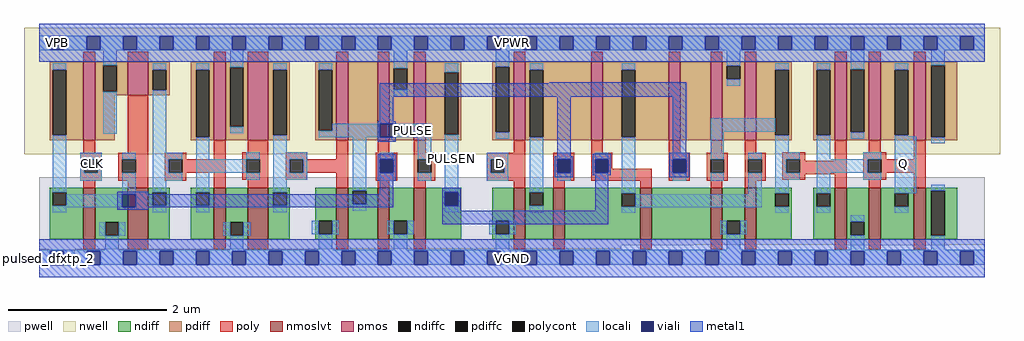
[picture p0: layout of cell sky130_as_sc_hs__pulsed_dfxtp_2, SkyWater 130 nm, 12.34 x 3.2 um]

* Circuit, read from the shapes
.subckt sky130_as_sc_hs__pulsed_dfxtp_2 VNB VPB VPWR VGND CLK D Q PULSE PULSEN
XM1 VGND CLK n1 VNB sky130_fd_pr__nfet_01v8_lvt w=0.65 l=0.15
XM2 n2 n1 VGND VNB sky130_fd_pr__nfet_01v8_lvt w=0.65 l=0.26
XM3 VGND n2 n3 VNB sky130_fd_pr__nfet_01v8_lvt w=0.65 l=0.15
XM4 n4 n3 VGND VNB sky130_fd_pr__nfet_01v8_lvt w=0.65 l=0.26
XM5 PULSE n4 VGND VNB sky130_fd_pr__nfet_01v8_lvt w=0.65 l=0.15
XM6 VGND n1 PULSE VNB sky130_fd_pr__nfet_01v8_lvt w=0.65 l=0.15
XM7 PULSEN PULSE VGND VNB sky130_fd_pr__nfet_01v8_lvt w=0.65 l=0.15
XM8 n5 D VGND VNB sky130_fd_pr__nfet_01v8_lvt w=0.65 l=0.15
XM9 n6 PULSE n5 VNB sky130_fd_pr__nfet_01v8_lvt w=0.65 l=0.15
XM10 n7 PULSEN n6 VNB sky130_fd_pr__nfet_01v8_lvt w=0.65 l=0.15
XM11 VGND n8 n7 VNB sky130_fd_pr__nfet_01v8_lvt w=0.65 l=0.15
XM12 n8 n6 VGND VNB sky130_fd_pr__nfet_01v8_lvt w=0.65 l=0.15
XM13 VGND n8 n9 VNB sky130_fd_pr__nfet_01v8_lvt w=0.65 l=0.15
XM14 Q n9 VGND VNB sky130_fd_pr__nfet_01v8_lvt w=0.65 l=0.15 m=2
XM15 VPWR CLK n1 VPB sky130_fd_pr__pfet_01v8 w=0.99 l=0.15
XM16 n2 n1 VPWR VPB sky130_fd_pr__pfet_01v8 w=0.42 l=0.26
XM17 VPWR n2 n3 VPB sky130_fd_pr__pfet_01v8 w=0.99 l=0.15
XM18 n4 n3 VPWR VPB sky130_fd_pr__pfet_01v8 w=0.99 l=0.26
XM19 n10 n4 PULSE VPB sky130_fd_pr__pfet_01v8 w=0.99 l=0.15
XM20 VPWR n1 n10 VPB sky130_fd_pr__pfet_01v8 w=0.99 l=0.15
XM21 PULSEN PULSE VPWR VPB sky130_fd_pr__pfet_01v8 w=0.99 l=0.15
XM22 n5 D VPWR VPB sky130_fd_pr__pfet_01v8 w=0.99 l=0.15
XM23 n6 PULSEN n5 VPB sky130_fd_pr__pfet_01v8 w=0.99 l=0.15
XM24 n11 PULSE n6 VPB sky130_fd_pr__pfet_01v8 w=0.99 l=0.15
XM25 VPWR n8 n11 VPB sky130_fd_pr__pfet_01v8 w=0.99 l=0.15
XM26 n8 n6 VPWR VPB sky130_fd_pr__pfet_01v8 w=0.99 l=0.15
XM27 VPWR n8 n9 VPB sky130_fd_pr__pfet_01v8 w=0.99 l=0.15
XM28 Q n9 VPWR VPB sky130_fd_pr__pfet_01v8 w=0.99 l=0.15 m=2
.ends

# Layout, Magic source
magic
tech sky130A
magscale 1 2
<< nwell >>
rect -38 262 2430 582
<< pwell >>
rect 0 34 2392 204
rect 0 32 1656 34
rect 2022 32 2300 34
rect 0 24 1472 32
rect 0 22 736 24
rect 1099 22 1104 24
rect 26 -20 90 22
<< pmos >>
rect 112 298 142 496
rect 224 412 276 496
rect 442 298 472 496
rect 528 298 580 496
rect 752 298 782 496
rect 856 298 886 496
rect 948 298 978 496
rect 1200 298 1230 496
rect 1396 298 1426 496
rect 1592 298 1622 496
rect 1698 298 1728 496
rect 1784 298 1814 496
rect 2012 298 2042 496
rect 2098 298 2128 496
rect 2212 298 2242 496
<< nmoslvt >>
rect 112 48 142 178
rect 224 48 276 178
rect 442 48 472 178
rect 528 48 580 178
rect 752 48 782 178
rect 856 48 886 178
rect 948 48 978 178
rect 1200 48 1230 178
rect 1300 48 1330 178
rect 1520 48 1550 178
rect 1698 48 1728 178
rect 1784 48 1814 178
rect 2012 48 2042 178
rect 2098 48 2128 178
rect 2212 48 2242 178
<< ndiff >>
rect 27 166 112 178
rect 27 132 35 166
rect 69 132 112 166
rect 27 48 112 132
rect 142 90 224 178
rect 142 56 168 90
rect 202 56 224 90
rect 142 48 224 56
rect 276 166 330 178
rect 276 132 288 166
rect 322 132 330 166
rect 276 48 330 132
rect 384 166 442 178
rect 384 132 397 166
rect 431 132 442 166
rect 384 48 442 132
rect 472 90 528 178
rect 472 56 483 90
rect 517 56 528 90
rect 472 48 528 56
rect 580 166 634 178
rect 580 132 592 166
rect 626 132 634 166
rect 580 48 634 132
rect 698 94 752 178
rect 698 60 707 94
rect 741 60 752 94
rect 698 48 752 60
rect 782 170 856 178
rect 782 136 793 170
rect 827 136 856 170
rect 782 48 856 136
rect 886 94 948 178
rect 886 60 897 94
rect 931 60 948 94
rect 886 48 948 60
rect 978 166 1068 178
rect 978 132 1026 166
rect 1060 132 1068 166
rect 978 48 1068 132
rect 1146 94 1200 178
rect 1146 60 1155 94
rect 1189 60 1200 94
rect 1146 48 1200 60
rect 1230 166 1300 178
rect 1230 132 1241 166
rect 1275 132 1300 166
rect 1230 48 1300 132
rect 1330 164 1520 178
rect 1330 130 1474 164
rect 1508 130 1520 164
rect 1330 48 1520 130
rect 1550 48 1698 178
rect 1728 94 1784 178
rect 1728 60 1739 94
rect 1773 60 1784 94
rect 1728 48 1784 60
rect 1814 164 1904 178
rect 1814 130 1862 164
rect 1896 130 1904 164
rect 1814 48 1904 130
rect 1958 164 2012 178
rect 1958 130 1967 164
rect 2001 130 2012 164
rect 1958 48 2012 130
rect 2042 92 2098 178
rect 2042 58 2053 92
rect 2087 58 2098 92
rect 2042 48 2098 58
rect 2128 164 2212 178
rect 2128 130 2164 164
rect 2198 130 2212 164
rect 2128 48 2212 130
rect 2242 170 2322 178
rect 2242 56 2256 170
rect 2290 56 2322 170
rect 2242 48 2322 56
<< pdiff >>
rect 27 476 112 496
rect 27 310 35 476
rect 69 310 112 476
rect 27 298 112 310
rect 142 488 224 496
rect 142 420 162 488
rect 196 420 224 488
rect 142 412 224 420
rect 276 476 330 496
rect 276 424 288 476
rect 322 424 330 476
rect 276 412 330 424
rect 384 476 442 496
rect 142 298 192 412
rect 384 306 397 476
rect 431 306 442 476
rect 384 298 442 306
rect 472 482 528 496
rect 472 332 483 482
rect 517 332 528 482
rect 472 298 528 332
rect 580 476 634 496
rect 580 310 592 476
rect 626 310 634 476
rect 580 298 634 310
rect 698 476 752 496
rect 698 322 707 476
rect 741 322 752 476
rect 698 298 752 322
rect 782 298 856 496
rect 886 480 948 496
rect 886 426 897 480
rect 931 426 948 480
rect 886 298 948 426
rect 978 470 1068 496
rect 978 312 1026 470
rect 1060 312 1068 470
rect 978 298 1068 312
rect 1146 484 1200 496
rect 1146 318 1155 484
rect 1189 318 1200 484
rect 1146 298 1200 318
rect 1230 476 1396 496
rect 1230 306 1241 476
rect 1275 306 1396 476
rect 1230 298 1396 306
rect 1426 476 1592 496
rect 1426 306 1474 476
rect 1508 306 1592 476
rect 1426 298 1592 306
rect 1622 298 1698 496
rect 1728 486 1784 496
rect 1728 452 1739 486
rect 1773 452 1784 486
rect 1728 298 1784 452
rect 1814 476 1904 496
rect 1814 310 1862 476
rect 1896 310 1904 476
rect 1814 298 1904 310
rect 1958 476 2012 496
rect 1958 310 1967 476
rect 2001 310 2012 476
rect 1958 298 2012 310
rect 2042 478 2098 496
rect 2042 318 2053 478
rect 2087 318 2098 478
rect 2042 298 2098 318
rect 2128 476 2212 496
rect 2128 310 2164 476
rect 2198 310 2212 476
rect 2128 298 2212 310
rect 2242 488 2322 496
rect 2242 306 2256 488
rect 2290 306 2322 488
rect 2242 298 2322 306
<< ndiffc >>
rect 35 132 69 166
rect 168 56 202 90
rect 288 132 322 166
rect 397 132 431 166
rect 483 56 517 90
rect 592 132 626 166
rect 707 60 741 94
rect 793 136 827 170
rect 897 60 931 94
rect 1026 132 1060 166
rect 1155 60 1189 94
rect 1241 132 1275 166
rect 1474 130 1508 164
rect 1739 60 1773 94
rect 1862 130 1896 164
rect 1967 130 2001 164
rect 2053 58 2087 92
rect 2164 130 2198 164
rect 2256 56 2290 170
<< pdiffc >>
rect 35 310 69 476
rect 162 420 196 488
rect 288 424 322 476
rect 397 306 431 476
rect 483 332 517 482
rect 592 310 626 476
rect 707 322 741 476
rect 897 426 931 480
rect 1026 312 1060 470
rect 1155 318 1189 484
rect 1241 306 1275 476
rect 1474 306 1508 476
rect 1739 452 1773 486
rect 1862 310 1896 476
rect 1967 310 2001 476
rect 2053 318 2087 478
rect 2164 310 2198 476
rect 2256 306 2290 488
<< poly >>
rect 112 496 142 522
rect 224 496 276 522
rect 442 496 472 522
rect 528 496 580 522
rect 752 496 782 522
rect 856 496 886 522
rect 948 496 978 522
rect 1200 496 1230 522
rect 1396 496 1426 522
rect 1592 496 1622 522
rect 1698 496 1728 522
rect 1784 496 1814 522
rect 2012 496 2042 522
rect 2098 496 2128 522
rect 2212 496 2242 522
rect 112 266 142 298
rect 224 266 276 412
rect 104 250 158 266
rect 104 216 114 250
rect 148 216 158 250
rect 104 196 158 216
rect 200 250 276 266
rect 200 216 210 250
rect 244 216 276 250
rect 200 196 276 216
rect 318 250 372 266
rect 442 250 472 298
rect 528 268 580 298
rect 318 216 328 250
rect 362 216 472 250
rect 318 196 372 216
rect 112 178 142 196
rect 224 178 276 196
rect 442 178 472 216
rect 514 250 580 268
rect 514 216 524 250
rect 558 216 580 250
rect 514 198 580 216
rect 624 250 678 268
rect 752 250 782 298
rect 856 266 886 298
rect 948 266 978 298
rect 1200 266 1230 298
rect 1396 266 1426 298
rect 1592 266 1622 298
rect 1698 266 1728 298
rect 1784 266 1814 298
rect 624 216 634 250
rect 668 216 782 250
rect 624 198 678 216
rect 528 178 580 198
rect 752 178 782 216
rect 852 250 906 266
rect 852 216 862 250
rect 896 216 906 250
rect 852 196 906 216
rect 948 250 1002 266
rect 948 216 958 250
rect 992 216 1002 250
rect 948 196 1002 216
rect 1132 250 1230 266
rect 1132 216 1142 250
rect 1176 216 1230 250
rect 1132 196 1230 216
rect 856 178 886 196
rect 948 178 978 196
rect 1200 178 1230 196
rect 1300 250 1354 266
rect 1300 216 1310 250
rect 1344 216 1354 250
rect 1300 196 1354 216
rect 1396 250 1450 266
rect 1396 216 1406 250
rect 1440 226 1450 250
rect 1592 250 1646 266
rect 1440 216 1550 226
rect 1396 196 1550 216
rect 1592 216 1602 250
rect 1636 216 1646 250
rect 1592 196 1646 216
rect 1688 250 1742 266
rect 1688 216 1698 250
rect 1732 216 1742 250
rect 1688 196 1742 216
rect 1784 250 1838 266
rect 1784 216 1794 250
rect 1828 216 1838 250
rect 1784 196 1838 216
rect 1880 250 1938 268
rect 1880 216 1890 250
rect 1924 246 1938 250
rect 2012 246 2042 298
rect 2098 268 2128 298
rect 1924 216 2042 246
rect 1880 212 2042 216
rect 1880 198 1938 212
rect 1300 178 1330 196
rect 1520 178 1550 196
rect 1698 178 1728 196
rect 1784 178 1814 196
rect 2012 178 2042 212
rect 2084 250 2142 268
rect 2212 250 2242 298
rect 2084 216 2096 250
rect 2130 216 2242 250
rect 2084 198 2142 216
rect 2098 178 2128 198
rect 2212 178 2242 216
rect 112 22 142 48
rect 224 22 276 48
rect 442 22 472 48
rect 528 22 580 48
rect 752 22 782 48
rect 856 22 886 48
rect 948 22 978 48
rect 1200 22 1230 48
rect 1300 22 1330 48
rect 1520 22 1550 48
rect 1698 22 1728 48
rect 1784 22 1814 48
rect 2012 22 2042 48
rect 2098 22 2128 48
rect 2212 22 2242 48
<< polycont >>
rect 114 216 148 250
rect 210 216 244 250
rect 328 216 362 250
rect 524 216 558 250
rect 634 216 668 250
rect 862 216 896 250
rect 958 216 992 250
rect 1142 216 1176 250
rect 1310 216 1344 250
rect 1406 216 1440 250
rect 1602 216 1636 250
rect 1698 216 1732 250
rect 1794 216 1828 250
rect 1890 216 1924 250
rect 2096 216 2130 250
<< locali >>
rect 0 561 2392 562
rect 0 527 29 561
rect 63 527 121 561
rect 155 527 213 561
rect 247 527 305 561
rect 339 527 397 561
rect 431 527 489 561
rect 523 527 581 561
rect 615 527 673 561
rect 707 527 765 561
rect 799 527 857 561
rect 891 527 949 561
rect 983 527 1041 561
rect 1075 527 1133 561
rect 1167 527 1225 561
rect 1259 527 1317 561
rect 1351 527 1409 561
rect 1443 527 1501 561
rect 1535 527 1593 561
rect 1627 527 1685 561
rect 1719 527 1777 561
rect 1811 527 1869 561
rect 1903 527 1961 561
rect 1995 527 2053 561
rect 2087 527 2145 561
rect 2179 527 2237 561
rect 2271 527 2329 561
rect 2363 527 2392 561
rect 0 526 2392 527
rect 35 476 69 492
rect 162 488 196 526
rect 162 314 196 420
rect 288 476 322 492
rect 35 166 69 310
rect 288 266 322 424
rect 397 476 431 492
rect 483 482 517 526
rect 483 316 517 332
rect 592 476 626 492
rect 104 250 158 266
rect 104 216 114 250
rect 148 216 158 250
rect 104 196 158 216
rect 210 250 244 266
rect 210 162 244 216
rect 69 132 210 162
rect 35 128 210 132
rect 288 250 362 266
rect 288 216 328 250
rect 288 196 362 216
rect 397 250 431 306
rect 592 268 626 310
rect 707 476 741 492
rect 897 480 931 526
rect 897 408 931 426
rect 1026 470 1060 492
rect 741 322 862 340
rect 707 306 862 322
rect 896 306 992 340
rect 524 250 558 268
rect 397 216 524 250
rect 288 166 322 196
rect 35 116 69 128
rect 288 116 322 132
rect 397 166 431 216
rect 524 198 558 216
rect 592 250 678 268
rect 592 216 634 250
rect 668 216 678 250
rect 592 198 678 216
rect 397 116 431 132
rect 592 166 626 198
rect 592 116 626 132
rect 793 170 827 306
rect 862 250 896 266
rect 862 196 896 216
rect 958 250 992 306
rect 958 196 992 216
rect 793 120 827 136
rect 1026 166 1060 312
rect 1155 484 1189 526
rect 1155 302 1189 318
rect 1241 476 1275 492
rect 1132 250 1186 266
rect 1132 216 1142 250
rect 1176 216 1186 250
rect 1132 196 1186 216
rect 1026 116 1060 132
rect 1241 166 1275 306
rect 1474 476 1508 492
rect 1739 486 1773 526
rect 1739 436 1773 452
rect 1862 476 1896 492
rect 1310 250 1344 266
rect 1310 196 1344 216
rect 1406 250 1440 266
rect 1406 196 1440 216
rect 1241 114 1275 132
rect 1474 164 1508 306
rect 1698 320 1862 354
rect 1602 250 1636 266
rect 1602 196 1636 216
rect 1698 250 1732 320
rect 1862 268 1896 310
rect 1967 476 2001 492
rect 1698 196 1732 216
rect 1794 250 1828 266
rect 1794 162 1828 216
rect 1508 130 1828 162
rect 1474 128 1828 130
rect 1862 250 1924 268
rect 1862 216 1890 250
rect 1862 198 1924 216
rect 1967 250 2001 310
rect 2053 478 2087 526
rect 2053 302 2087 318
rect 2164 476 2198 492
rect 2164 308 2198 310
rect 2256 488 2290 526
rect 2084 250 2130 268
rect 1967 216 2096 250
rect 1862 164 1896 198
rect 1474 114 1508 128
rect 1862 114 1896 130
rect 1967 164 2001 216
rect 2084 198 2130 216
rect 1967 114 2001 130
rect 2164 164 2218 308
rect 2256 290 2290 306
rect 2256 170 2290 186
rect 2164 114 2198 130
rect 152 56 168 90
rect 202 56 218 90
rect 466 56 483 90
rect 517 56 534 90
rect 690 60 707 94
rect 741 60 758 94
rect 880 60 897 94
rect 931 60 948 94
rect 1138 60 1155 94
rect 1189 60 1206 94
rect 1722 60 1739 94
rect 1773 60 1790 94
rect 2053 92 2087 108
rect 168 21 202 56
rect 483 21 517 56
rect 707 21 741 60
rect 897 21 931 60
rect 1155 21 1189 60
rect 1739 21 1773 60
rect 2053 21 2087 58
rect 2256 21 2290 56
rect 0 17 2392 21
rect 0 -17 29 17
rect 63 -17 121 17
rect 155 -17 213 17
rect 247 -17 305 17
rect 339 -17 397 17
rect 431 -17 489 17
rect 523 -17 581 17
rect 615 -17 673 17
rect 707 -17 765 17
rect 799 -17 857 17
rect 891 -17 949 17
rect 983 -17 1041 17
rect 1075 -17 1133 17
rect 1167 -17 1225 17
rect 1259 -17 1317 17
rect 1351 -17 1409 17
rect 1443 -17 1501 17
rect 1535 -17 1593 17
rect 1627 -17 1685 17
rect 1719 -17 1777 17
rect 1811 -17 1869 17
rect 1903 -17 1961 17
rect 1995 -17 2053 17
rect 2087 -17 2145 17
rect 2179 -17 2237 17
rect 2271 -17 2329 17
rect 2363 -17 2392 17
<< viali >>
rect 29 527 63 561
rect 121 527 155 561
rect 213 527 247 561
rect 305 527 339 561
rect 397 527 431 561
rect 489 527 523 561
rect 581 527 615 561
rect 673 527 707 561
rect 765 527 799 561
rect 857 527 891 561
rect 949 527 983 561
rect 1041 527 1075 561
rect 1133 527 1167 561
rect 1225 527 1259 561
rect 1317 527 1351 561
rect 1409 527 1443 561
rect 1501 527 1535 561
rect 1593 527 1627 561
rect 1685 527 1719 561
rect 1777 527 1811 561
rect 1869 527 1903 561
rect 1961 527 1995 561
rect 2053 527 2087 561
rect 2145 527 2179 561
rect 2237 527 2271 561
rect 2329 527 2363 561
rect 210 128 244 162
rect 862 306 896 340
rect 862 216 896 250
rect 1026 132 1060 166
rect 1310 216 1344 250
rect 1406 216 1440 250
rect 1602 216 1636 250
rect 29 -17 63 17
rect 121 -17 155 17
rect 213 -17 247 17
rect 305 -17 339 17
rect 397 -17 431 17
rect 489 -17 523 17
rect 581 -17 615 17
rect 673 -17 707 17
rect 765 -17 799 17
rect 857 -17 891 17
rect 949 -17 983 17
rect 1041 -17 1075 17
rect 1133 -17 1167 17
rect 1225 -17 1259 17
rect 1317 -17 1351 17
rect 1409 -17 1443 17
rect 1501 -17 1535 17
rect 1593 -17 1627 17
rect 1685 -17 1719 17
rect 1777 -17 1811 17
rect 1869 -17 1903 17
rect 1961 -17 1995 17
rect 2053 -17 2087 17
rect 2145 -17 2179 17
rect 2237 -17 2271 17
rect 2329 -17 2363 17
<< metal1 >>
rect 0 561 2392 592
rect 0 527 29 561
rect 63 527 121 561
rect 155 527 213 561
rect 247 527 305 561
rect 339 527 397 561
rect 431 527 489 561
rect 523 527 581 561
rect 615 527 673 561
rect 707 527 765 561
rect 799 527 857 561
rect 891 527 949 561
rect 983 527 1041 561
rect 1075 527 1133 561
rect 1167 527 1225 561
rect 1259 527 1317 561
rect 1351 527 1409 561
rect 1443 527 1501 561
rect 1535 527 1593 561
rect 1627 527 1685 561
rect 1719 527 1777 561
rect 1811 527 1869 561
rect 1903 527 1961 561
rect 1995 527 2053 561
rect 2087 527 2145 561
rect 2179 527 2237 561
rect 2271 527 2329 561
rect 2363 527 2392 561
rect 0 496 2392 527
rect 1290 442 1636 444
rect 862 408 1636 442
rect 862 346 896 408
rect 856 340 902 346
rect 856 306 862 340
rect 896 306 902 340
rect 856 294 902 306
rect 856 250 902 262
rect 1310 258 1344 408
rect 1602 266 1636 408
rect 856 216 862 250
rect 896 216 902 250
rect 856 196 902 216
rect 1304 250 1350 258
rect 1304 216 1310 250
rect 1344 216 1350 250
rect 1304 204 1350 216
rect 1400 250 1446 264
rect 1400 216 1406 250
rect 1440 216 1446 250
rect 1400 210 1446 216
rect 1594 250 1644 266
rect 1594 216 1602 250
rect 1636 216 1644 250
rect 198 162 276 168
rect 862 162 896 196
rect 198 128 210 162
rect 244 128 896 162
rect 1020 166 1066 178
rect 1020 132 1026 166
rect 1060 132 1066 166
rect 198 122 276 128
rect 1020 120 1066 132
rect 1406 120 1440 210
rect 1594 204 1644 216
rect 1020 86 1440 120
rect 0 17 2392 48
rect 0 -17 29 17
rect 63 -17 121 17
rect 155 -17 213 17
rect 247 -17 305 17
rect 339 -17 397 17
rect 431 -17 489 17
rect 523 -17 581 17
rect 615 -17 673 17
rect 707 -17 765 17
rect 799 -17 857 17
rect 891 -17 949 17
rect 983 -17 1041 17
rect 1075 -17 1133 17
rect 1167 -17 1225 17
rect 1259 -17 1317 17
rect 1351 -17 1409 17
rect 1443 -17 1501 17
rect 1535 -17 1593 17
rect 1627 -17 1685 17
rect 1719 -17 1777 17
rect 1811 -17 1869 17
rect 1903 -17 1961 17
rect 1995 -17 2053 17
rect 2087 -17 2145 17
rect 2179 -17 2237 17
rect 2271 -17 2329 17
rect 2363 -17 2392 17
rect 0 -48 2392 -17
<< labels >>
rlabel comment s 0 0 0 0 4 pulsed_dfxtp_2
flabel pwell s 29 -17 63 17 0 FreeSans 200 0 0 0 VNB
port 1 nsew ground bidirectional
flabel pwell s 46 0 46 0 0 FreeSans 200 0 0 0 VNB
flabel nwell s 29 527 63 561 0 FreeSans 200 0 0 0 VPB
port 2 nsew power bidirectional
flabel nwell s 46 544 46 544 0 FreeSans 200 0 0 0 VPB
flabel metal1 s 29 527 63 561 0 FreeSans 200 0 0 0 VPWR
port 3 nsew power bidirectional abutment
flabel metal1 s 29 -17 63 17 0 FreeSans 200 0 0 0 VGND
port 4 nsew ground bidirectional abutment
rlabel metal1 s 0 -48 2392 48 1 VGND
port 4 nsew ground bidirectional abutment
rlabel metal1 s 0 496 2392 592 1 VPWR
port 3 nsew power bidirectional abutment
flabel locali s 119 221 153 255 0 FreeSans 200 0 0 0 CLK
port 5 nsew clock input
flabel locali s 136 238 136 238 0 FreeSans 200 0 0 0 CLK
flabel locali 1150 221 1184 255 0 FreeSans 200 0 0 0 D
port 6 nsew signal input
flabel locali 1167 238 1167 238 0 FreeSans 200 0 0 0 D
flabel locali 2170 221 2204 255 0 FreeSans 200 0 0 0 Q
port 7 nsew signal output
flabel locali 2185 228 2185 238 0 FreeSans 200 0 0 0 Q
flabel locali 930 306 964 340 0 FreeSans 200 0 0 0 PULSE
port 8 nsew signal output
flabel locali 1026 234 1060 268 0 FreeSans 200 0 0 0 PULSEN
port 9 nsew signal output
<< properties >>
string FIXED_BBOX 0 0 2392 544
string LEFclass CORE
string LEFsite unithd
string LEFsymmetry X Y R90
<< end >>
